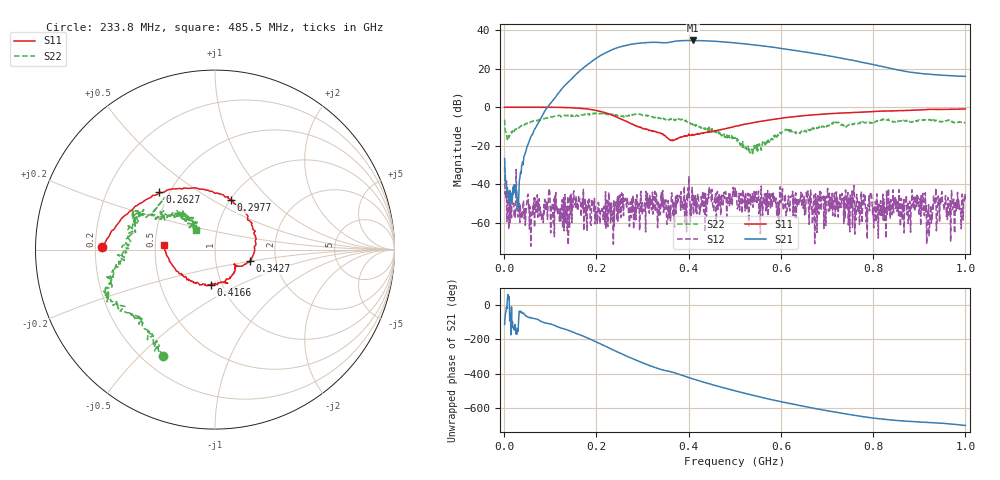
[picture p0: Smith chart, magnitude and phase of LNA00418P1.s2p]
! Created with skrf 1.9.0 (http://scikit-rf.org).
# Hz S RI R 50.0
!freq ReS11 ImS11 ReS21 ImS21 ReS12 ImS12 ReS22 ImS22
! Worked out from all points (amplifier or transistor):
!   1001 points, 1 MHz to 1 GHz, reference 50 ohm
!   highest |S21| = 34.7 dB at 408.6 MHz (marker M1)
!   |S21| within 3 dB of that: 256.8 MHz to 565.8 MHz (309 MHz wide, 75.1 % of centre)
!   unconditionally stable (mu >= 1): 219.9 MHz to 296.6 MHz; 296.7 MHz to 400.2 MHz; 401 MHz to end of sweep (the widest 3 of 31)
!   at 166.8 MHz: K = 2.51, MAG = 31.4 dB, |S12| = -56.9 dB
!   at 500.5 MHz: K = 1.30, MAG = 34.4 dB, |S12| = -42.0 dB
!   at 1 GHz: K = 3.36, MAG = 24.2 dB, |S12| = -48.7 dB
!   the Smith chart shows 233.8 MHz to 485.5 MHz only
!   S11 on the Smith chart (normalised r, x): 233.8 MHz: 0.23, +0.01; 262.7 MHz: 0.44, +0.35; 297.7 MHz: 1.01, +0.61; 342.7 MHz: 1.46, -0.20; 416.6 MHz: 0.88, -0.37; 485.5 MHz: 0.56, +0.03
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1000000  0.9913 -0.0014  -0.0175 -0.0429  -0.0249 0.0118  0.3233 0.3484
1.08892e8  0.5242 -0.8463  -0.791 -1.493  -0.000128 0.000411  0.4408 -0.3855
1.67833e8  -0.2286 -0.9023  -9.685 -0.5493  0.00119 0.00216  0.0349 -0.6303
2.06794e8  -0.6515 -0.4364  -15.6 14.63  0.00126 -0.00134  -0.1784 -0.6571
2.33767e8  -0.6272 0.0152  -6.107 30.47  -0.00181 -0.00115  -0.2897 -0.5922
2.62738e8  -0.3099 0.3193  16.6 36.32  -0.00151 0.00396  -0.4094 -0.3778
2.97703e8  0.0907 0.2764  42.21 19.88  1.35e-06 0.00193  -0.593 -0.2367
3.17683e8  0.2029 0.1416  48.23 3.936  -0.00436 0.000109  -0.5744 -0.1252
3.34666e8  0.2198 -0.0127  47.44 -9.567  0.0018 0.00321  -0.5054 -0.0421
3.42658e8  0.1932 -0.0648  45.38 -14.66  -0.000932 0.00301  -0.5048 -6e-05
3.73627e8  0.1138 -0.0994  40.7 -33.41  0.0002 0.00503  -0.4504 0.1678
4.08592e8  0.0144 -0.1935  17.99 -51.41  -8.22e-06 0.00406  -0.3044 0.2123
4.16584e8  -0.0234 -0.1987  11.71 -53.06  -0.00281 0.0029  -0.2858 0.2024
4.46554e8  -0.1751 -0.1498  -10.33 -51.68  0.00474 0.00363  -0.2012 0.1873
4.85515e8  -0.2852 0.023  -31.5 -37.34  0.00329 0.00178  -0.1064 0.1102
5.005e8  -0.3021 0.1025  -36.9 -29.59  -3.67e-05 0.00792  -0.1041 0.1249
5.4046e8  -0.239 0.3202  -40.99 -8.772  0.00357 -0.000219  -0.0829 0.00416
5.88412e8  -0.0472 0.4919  -33.74 11.03  0.00172 -0.00256  -0.1449 -0.0728
6.67333e8  0.3314 0.5341  -12.15 22.35  -0.00183 -0.0018  -0.2802 -0.0277
7.49251e8  0.6146 0.3738  2.997 16.88  0.000137 0.000558  -0.3402 0.0915
8.34166e8  0.7842 0.1439  6.852 7.948  0.000496 0.00203  -0.4083 0.2038
1e9  0.8114 -0.3941  6.116 1.742  -0.00303 0.0021  -0.0669 0.3855
